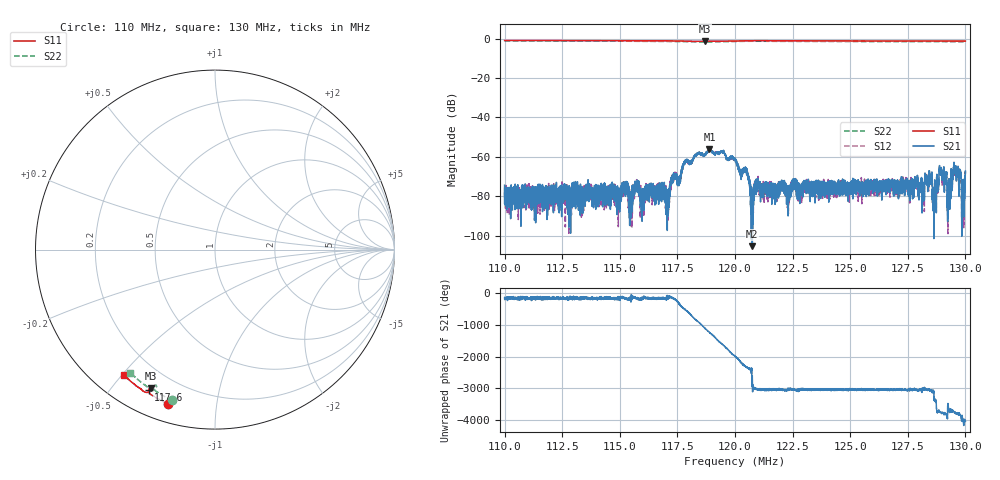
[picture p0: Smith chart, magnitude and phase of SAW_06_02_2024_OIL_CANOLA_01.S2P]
!Agilent Technologies,E5071C,MY46520923,B.12.03
!Date: Wed Feb 07 09:52:54 2024
!Data & Calibration Information:
!Freq	S11:SOLT2(ON)	S21:SOLT2(ON)	S12:SOLT2(ON)	S22:SOLT2(ON)
!PortZ  Port1:50+j0  Port2:50+j0
!Above PortZ is port z conversion or system Z0 setting when saving the data.
!When reading, reference impedance value at option line is always used.
# Hz S dB R 50
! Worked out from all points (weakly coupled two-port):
!   10000 points, 110 MHz to 130 MHz, reference 50 ohm
!   highest |S21| = -55.99 dB at 118.9 MHz (marker M1); lowest = -105.2 dB at 120.8 MHz (marker M2)
!   lowest |S11| = -1.4 dB at 118.7 MHz (marker M3), VSWR 12.35, Z = 5.68 - j31.6 ohm
!   |S11| at or under -10 dB: nowhere
!   |S22| runs from -1.7 to -1.2 dB; largest |S21 - S12| = 0.00019
!   S11 on the Smith chart (normalised r, x): 110 MHz: 0.08, -0.74; 117.6 MHz: 0.10, -0.63; 130 MHz: 0.09, -0.51
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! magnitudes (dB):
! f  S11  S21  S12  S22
! 110 MHz  -0.9  -74.3  -77.9  -1.2
! 113.3 MHz  -1.0  -83.1  -82.1  -1.3
! 116.7 MHz  -1.1  -80.5  -78.6  -1.4
! 117.1 MHz  -1.1  -90.3  -81.6  -1.4
! 117.3 MHz  -1.2  -69.3  -70.4  -1.5
! 117.6 MHz  -1.2  -69.6  -69.8  -1.5
! 117.8 MHz  -1.3  -61.7  -62.7  -1.6
! 118.7 MHz  -1.4  -58.5  -58.5  -1.7
! 118.9 MHz  -1.4  -56.0  -56.1  -1.7
! 120 MHz  -1.2  -61.4  -61.2  -1.4
! 120.5 MHz  -1.1  -69.1  -66.9  -1.4
! 120.8 MHz  -1.1  -105.2  -88.5  -1.3
! 123.3 MHz  -1.1  -79.9  -77.8  -1.4
! 126.7 MHz  -1.2  -73.0  -74.1  -1.5
! 128.1 MHz  -1.2  -80.5  -86.8  -1.5
! 128.5 MHz  -1.2  -73.3  -73.5  -1.6
! 128.7 MHz  -1.2  -79.0  -83.2  -1.6
! 129 MHz  -1.2  -67.5  -67.4  -1.6
! 129.3 MHz  -1.3  -71.6  -75.4  -1.6
! 129.6 MHz  -1.3  -66.4  -65.7  -1.6
! 129.9 MHz  -1.3  -73.8  -72.6  -1.6
! 130 MHz  -1.3  -67.2  -66.8  -1.6
